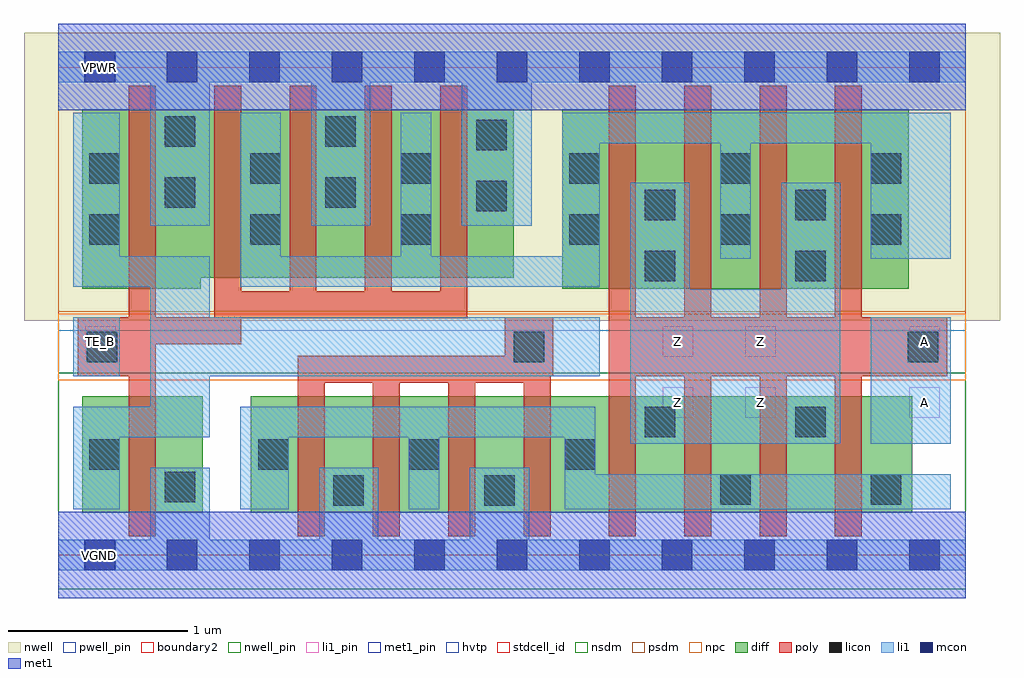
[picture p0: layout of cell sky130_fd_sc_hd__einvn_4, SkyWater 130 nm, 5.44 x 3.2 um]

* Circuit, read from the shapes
.subckt sky130_fd_sc_hd__einvn_4 A TE_B VGND VNB VPB VPWR Z
XM1 VGND TE_B n1 VNB sky130_fd_pr__nfet_01v8 w=0.65 l=0.15
XM2 VGND n1 n2 VNB sky130_fd_pr__nfet_01v8 w=0.65 l=0.15 m=4
XM3 Z A n2 VNB sky130_fd_pr__nfet_01v8 w=0.65 l=0.15 m=4
XM4 VPWR TE_B n1 VPB sky130_fd_pr__pfet_01v8_hvt w=1 l=0.15
XM5 n3 TE_B VPWR VPB sky130_fd_pr__pfet_01v8_hvt w=0.94 l=0.15 m=4
XM6 Z A n3 VPB sky130_fd_pr__pfet_01v8_hvt w=1 l=0.15 m=4
.ends

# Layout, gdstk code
import gdstk
lib = gdstk.Library(unit=1e-6, precision=1e-09)
def R(c, l, rs):  # rectangles x0, y0, x1, y1
    for r in rs: c.add(gdstk.rectangle(r[:2], r[2:], *l))
def A(c, l, x, y, w, h, nx, ny, dx, dy):  # array of equal rectangles
    R(c, l, [(x+i*dx, y+j*dy, x+i*dx+w, y+j*dy+h) for i in range(nx) for j in range(ny)])
def P(c, l, *ps):  # polygons
    for p in ps: c.add(gdstk.Polygon(p, *l))
nwell_pin = (64, 16)
nwell = (64, 20)
diff = (65, 20)
poly = (66, 20)
licon = (66, 44)
li1_pin = (67, 16)
li1 = (67, 20)
mcon = (67, 44)
met1_pin = (68, 16)
met1 = (68, 20)
hvtp = (78, 44)
stdcell_id = (81, 4)
nsdm = (93, 44)
psdm = (94, 20)
npc = (95, 20)
pwell_pin = (122, 16)
boundary2 = (236, 0)

sky130_fd_sc_hd__einvn_4 = lib.new_cell('sky130_fd_sc_hd__einvn_4')
R(sky130_fd_sc_hd__einvn_4, nwell_pin, [(0.15,2.635,0.32,2.805)])
R(sky130_fd_sc_hd__einvn_4, nwell, [(-0.19,1.305,5.25,2.91)])
R(sky130_fd_sc_hd__einvn_4, diff, [(0.135,0.235,0.805,0.885), (1.075,0.235,4.76,0.885), (2.81,1.485,4.74,2.485)])
P(sky130_fd_sc_hd__einvn_4, diff, [(2.54,2.485),(0.135,2.485),(0.135,1.485),(0.795,1.485),(0.795,1.545),(2.54,1.545)])
P(sky130_fd_sc_hd__einvn_4, poly, [(4.955,1.325),(4.48,1.325),(4.48,2.615),(4.33,2.615),(4.33,1.325),(4.06,1.325),(4.06,2.615),(3.91,2.615),(3.91,1.325),(3.64,1.325),(3.64,2.615),(3.49,2.615),(3.49,1.325),(3.22,1.325),(3.22,2.615),(3.07,2.615),(3.07,0.105),(3.22,0.105),(3.22,0.995),(3.49,0.995),(3.49,0.105),(3.64,0.105),(3.64,0.995),(3.91,0.995),(3.91,0.105),(4.06,0.105),(4.06,0.995),(4.33,0.995),(4.33,0.105),(4.48,0.105),(4.48,0.995),(4.955,0.995)],
  [(2.76,1.325),(2.49,1.325),(2.49,1.11),(1.335,1.11),(1.335,0.105),(1.485,0.105),(1.485,0.96),(1.755,0.96),(1.755,0.105),(1.905,0.105),(1.905,0.96),(2.175,0.96),(2.175,0.105),(2.325,0.105),(2.325,0.96),(2.595,0.96),(2.595,0.105),(2.745,0.105),(2.745,0.995),(2.76,0.995)],
  [(2.28,2.615),(2.13,2.615),(2.13,1.47),(1.86,1.47),(1.86,2.615),(1.71,2.615),(1.71,1.47),(1.44,1.47),(1.44,2.615),(1.29,2.615),(1.29,1.47),(1.02,1.47),(1.02,2.615),(0.87,2.615),(0.87,1.325),(0.545,1.325),(0.545,2.615),(0.395,2.615),(0.395,1.325),(0.11,1.325),(0.11,0.995),(0.395,0.995),(0.395,0.105),(0.545,0.105),(0.545,1.175),(1.02,1.175),(1.02,1.32),(2.28,1.32)])
A(sky130_fd_sc_hd__einvn_4, licon, 2.85, 1.73, 0.17, 0.17, 3, 2, 0.84, 0.34)
R(sky130_fd_sc_hd__einvn_4, licon, [(1.535,0.275,1.705,0.445), (2.375,0.275,2.545,0.445), (3.69,0.28,3.86,0.45), (4.53,0.28,4.7,0.45), (0.595,0.295,0.765,0.465), (0.175,0.475,0.345,0.645), (1.115,0.475,1.285,0.645), (1.955,0.475,2.125,0.645), (2.825,0.475,2.995,0.645), (3.27,0.655,3.44,0.825), (4.11,0.655,4.28,0.825), (0.16,1.075,0.33,1.245), (2.54,1.075,2.71,1.245), (4.735,1.075,4.905,1.245), (3.27,1.525,3.44,1.695), (4.11,1.525,4.28,1.695), (0.175,1.73,0.345,1.9), (1.07,1.73,1.24,1.9), (1.91,1.73,2.08,1.9), (3.27,1.865,3.44,2.035), (4.11,1.865,4.28,2.035), (2.33,1.915,2.5,2.085), (0.595,1.935,0.765,2.105), (1.49,1.935,1.66,2.105), (0.175,2.07,0.345,2.24), (1.07,2.07,1.24,2.24), (1.91,2.07,2.08,2.24), (2.33,2.255,2.5,2.425), (0.595,2.275,0.765,2.445), (1.49,2.275,1.66,2.445)])
R(sky130_fd_sc_hd__einvn_4, li1_pin, [(3.37,0.765,3.54,0.935), (3.83,0.765,4,0.935), (4.745,0.765,4.915,0.935), (0.15,1.105,0.32,1.275), (3.37,1.105,3.54,1.275), (3.83,1.105,4,1.275), (4.745,1.105,4.915,1.275)])
R(sky130_fd_sc_hd__einvn_4, li1, [(4.53,0.62,4.975,1.325), (0.085,0.995,0.345,1.325)])
P(sky130_fd_sc_hd__einvn_4, li1, [(5.06,2.805),(0,2.805),(0,2.635),(0.515,2.635),(0.515,1.835),(0.845,1.835),(0.845,2.635),(1.41,2.635),(1.41,1.835),(1.74,1.835),(1.74,2.635),(2.25,2.635),(2.25,1.835),(2.64,1.835),(2.64,2.635),(5.06,2.635)],
  [(4.975,0.45),(2.995,0.45),(2.995,0.825),(1.015,0.825),(1.015,0.255),(1.285,0.255),(1.285,0.655),(1.955,0.655),(1.955,0.255),(2.125,0.255),(2.125,0.655),(2.825,0.655),(2.825,0.255),(4.975,0.255)],
  [(4.36,2.075),(4.03,2.075),(4.03,1.48),(3.52,1.48),(3.52,2.075),(3.19,2.075),(3.19,0.62),(4.36,0.62)],
  [(4.975,2.465),(2.81,2.465),(2.81,1.665),(2.08,1.665),(2.08,2.465),(1.91,2.465),(1.91,1.665),(1.24,1.665),(1.24,2.465),(1.015,2.465),(1.015,1.495),(3.02,1.495),(3.02,2.295),(3.69,2.295),(3.69,1.65),(3.86,1.65),(3.86,2.295),(4.53,2.295),(4.53,1.65),(4.975,1.65)],
  [(3.02,1.325),(0.845,1.325),(0.845,1.665),(0.345,1.665),(0.345,2.465),(0.085,2.465),(0.085,1.495),(0.515,1.495),(0.515,0.825),(0.085,0.825),(0.085,0.255),(0.345,0.255),(0.345,0.655),(0.845,0.655),(0.845,0.995),(3.02,0.995)],
  [(5.06,0.085),(2.625,0.085),(2.625,0.485),(2.295,0.485),(2.295,0.085),(1.785,0.085),(1.785,0.485),(1.455,0.485),(1.455,0.085),(0.845,0.085),(0.845,0.485),(0.515,0.485),(0.515,0.085),(0,0.085),(0,-0.085),(5.06,-0.085)])
A(sky130_fd_sc_hd__einvn_4, mcon, 0.145, -0.085, 0.17, 0.17, 11, 2, 0.46, 2.72)
R(sky130_fd_sc_hd__einvn_4, met1_pin, [(0.15,-0.085,0.32,0.085), (0.15,2.635,0.32,2.805)])
R(sky130_fd_sc_hd__einvn_4, hvtp, [(0,1.25,5.06,2.72)])
R(sky130_fd_sc_hd__einvn_4, stdcell_id, [(0,0,5.06,2.72)])
R(sky130_fd_sc_hd__einvn_4, nsdm, [(0,-0.19,5.06,1.015)])
R(sky130_fd_sc_hd__einvn_4, psdm, [(0,1.355,5.06,2.91)])
R(sky130_fd_sc_hd__einvn_4, npc, [(0,0.975,5.06,1.345)])
R(sky130_fd_sc_hd__einvn_4, pwell_pin, [(0.15,-0.085,0.32,0.085)])
R(sky130_fd_sc_hd__einvn_4, boundary2, [(0,0,5.06,2.72)])
sky130_fd_sc_hd__einvn_4.add(gdstk.FlexPath([(0,0),(5.06,0)], 0.48, ends="flush", simple_path=True, layer=68, datatype=20))  # met1
sky130_fd_sc_hd__einvn_4.add(gdstk.FlexPath([(0,2.72),(5.06,2.72)], 0.48, ends="flush", simple_path=True, layer=68, datatype=20))  # met1
sky130_fd_sc_hd__einvn_4.add(gdstk.Label('TE_B', (0.235,1.19), layer=67, texttype=5))
sky130_fd_sc_hd__einvn_4.add(gdstk.Label('Z', (3.915,0.85), layer=67, texttype=5))
sky130_fd_sc_hd__einvn_4.add(gdstk.Label('Z', (3.915,1.19), layer=67, texttype=5))
sky130_fd_sc_hd__einvn_4.add(gdstk.Label('Z', (3.455,1.19), layer=67, texttype=5))
sky130_fd_sc_hd__einvn_4.add(gdstk.Label('Z', (3.455,0.85), layer=67, texttype=5))
sky130_fd_sc_hd__einvn_4.add(gdstk.Label('A', (4.83,0.85), layer=67, texttype=5))
sky130_fd_sc_hd__einvn_4.add(gdstk.Label('A', (4.83,1.19), layer=67, texttype=5))
sky130_fd_sc_hd__einvn_4.add(gdstk.Label('VGND', (0.23,0), layer=68, texttype=5))
sky130_fd_sc_hd__einvn_4.add(gdstk.Label('VPWR', (0.23,2.72), layer=68, texttype=5))
sky130_fd_sc_hd__einvn_4.add(gdstk.Label('VPB', (0.235,2.72), layer=64, texttype=5))
sky130_fd_sc_hd__einvn_4.add(gdstk.Label('VNB', (0.235,0), layer=64, texttype=59))
sky130_fd_sc_hd__einvn_4.add(gdstk.Label('einvn_4', (0,0), layer=83, texttype=44))

lib.write_gds('sky130_fd_sc_hd__einvn_4.gds')
